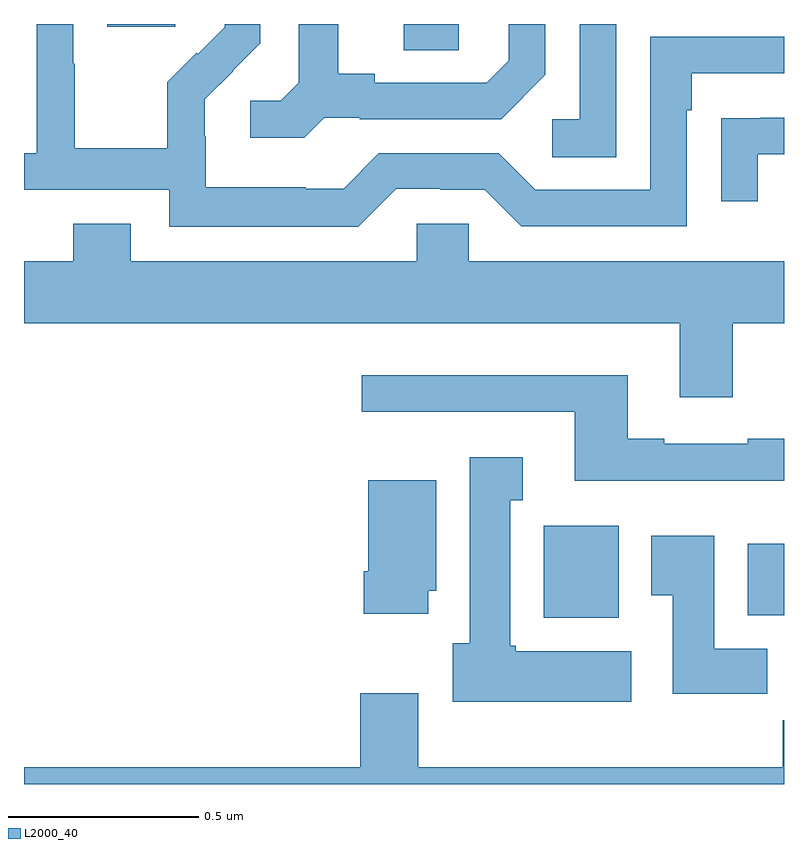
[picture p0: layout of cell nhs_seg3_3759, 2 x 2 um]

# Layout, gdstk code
import gdstk
lib = gdstk.Library(unit=1e-6, precision=1e-09)
def R(c, l, rs):  # rectangles x0, y0, x1, y1
    for r in rs: c.add(gdstk.rectangle(r[:2], r[2:], *l))
def P(c, l, *ps):  # polygons
    for p in ps: c.add(gdstk.Polygon(p, *l))
L2000_40 = (2000, 40)

nhs_seg3_3759 = lib.new_cell('nhs_seg3_3759')
R(nhs_seg3_3759, L2000_40, [(159.368,670.838,159.565,671.08), (159.905,670.844,160,671.032), (158.999,672.331,159.144,672.4), (158.219,672.393,158.398,672.4)])
P(nhs_seg3_3759, L2000_40, [(158.79,672.153),(158.884,672.153),(158.884,672.15),(159.256,672.15),(159.372,672.266),(159.372,672.4),(159.275,672.4),(159.275,672.303),(159.218,672.246),(158.923,672.246),(158.923,672.269),(158.827,672.269),(158.827,672.4),(158.723,672.4),(158.723,672.245),(158.676,672.198),(158.595,672.198),(158.595,672.101),(158.738,672.101)],
  [(158.979,671.967),(159.095,671.967),(159.095,671.964),(159.213,671.964),(159.309,671.868),(159.744,671.868),(159.744,672.173),(159.757,672.173),(159.757,672.27),(160,672.27),(160,672.366),(159.648,672.366),(159.648,671.964),(159.345,671.964),(159.249,672.06),(158.934,672.06),(158.841,671.967),(158.741,671.967),(158.741,671.971),(158.478,671.971),(158.478,672.105),(158.476,672.105),(158.476,672.202),(158.55,672.276),(158.549,672.277),(158.622,672.35),(158.622,672.4),(158.528,672.4),(158.528,672.392),(158.457,672.321),(158.454,672.324),(158.377,672.247),(158.377,672.073),(158.133,672.073),(158.133,672.296),(158.13,672.296),(158.13,672.4),(158.034,672.4),(158.034,672.06),(158,672.06),(158,671.964),(158.382,671.964),(158.382,671.867),(158.879,671.867)],
  [(159.558,672.4),(159.462,672.4),(159.462,672.15),(159.39,672.15),(159.39,672.049),(159.558,672.049)],
  [(159.931,672.057),(160,672.057),(160,672.153),(159.937,672.153),(159.937,672.152),(159.835,672.152),(159.835,671.934),(159.931,671.934)],
  [(159.865,671.612),(160,671.612),(160,671.776),(159.171,671.776),(159.171,671.874),(159.033,671.874),(159.033,671.776),(158.281,671.776),(158.281,671.875),(158.129,671.875),(158.129,671.776),(158,671.776),(158,671.612),(159.725,671.612),(159.725,671.418),(159.865,671.418)],
  [(160,671.308),(159.905,671.308),(159.905,671.295),(159.685,671.295),(159.685,671.308),(159.589,671.308),(159.589,671.476),(158.889,671.476),(158.889,671.379),(159.449,671.379),(159.449,671.198),(160,671.198)],
  [(159.598,670.75),(159.294,670.75),(159.294,670.764),(159.28,670.764),(159.28,671.147),(159.313,671.147),(159.313,671.26),(159.173,671.26),(159.173,670.77),(159.128,670.77),(159.128,670.616),(159.598,670.616)],
  [(159.064,670.908),(159.085,670.908),(159.085,671.2),(158.906,671.2),(158.906,670.96),(158.894,670.96),(158.894,670.848),(159.064,670.848)],
  [(159.956,670.756),(159.817,670.756),(159.817,671.053),(159.65,671.053),(159.65,670.897),(159.707,670.897),(159.707,670.638),(159.956,670.638)],
  [(160,670.568),(159.997,670.568),(159.997,670.444),(159.037,670.444),(159.037,670.639),(158.885,670.639),(158.885,670.444),(158,670.444),(158,670.4),(160,670.4)])

lib.write_gds('nhs_seg3_3759.gds')
